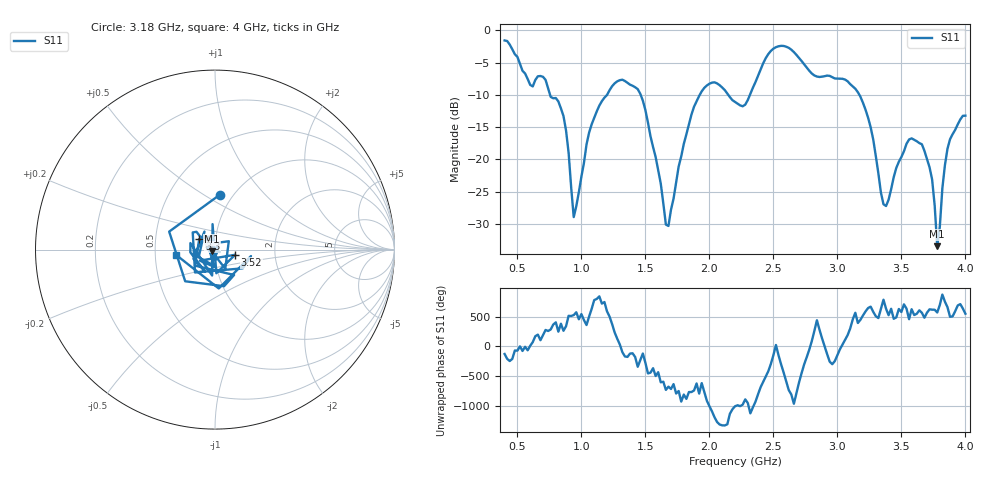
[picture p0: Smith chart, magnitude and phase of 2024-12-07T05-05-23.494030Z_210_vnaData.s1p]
!Created with skrf (http://scikit-rf.org).
# Hz S RI R 50.0
!freq ReS11 ImS11
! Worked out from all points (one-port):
!   181 points, 400 MHz to 4 GHz, reference 50 ohm
!   lowest |S11| = -33.5 dB at 3.78 GHz (marker M1), VSWR 1.04, Z = 48.2 - j0.956 ohm
!   |S11| at or under -10 dB: 755.3 MHz to 1.2 GHz (445.1 MHz wide, 45.5 % of centre); 1.463 GHz to 1.924 GHz (461.2 MHz wide, 27.2 % of centre); 3.172 GHz to end of sweep (the widest 3 of 4)
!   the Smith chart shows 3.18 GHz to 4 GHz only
!   S11 on the Smith chart (normalised r, x): 3.18 GHz: 0.87, +0.58; 3.3 GHz: 0.83, +0.10; 3.52 GHz: 1.25, -0.07; 4 GHz: 0.64, -0.04
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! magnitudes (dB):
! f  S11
! 400 MHz  -1.6
! 600 MHz  -8.4
! 720 MHz  -7.7
! 860 MHz  -13.3
! 900 MHz  -19.0
! 940 MHz  -29.0
! 1.08 GHz  -14.6
! 1.3 GHz  -7.7
! 1.48 GHz  -10.9
! 1.62 GHz  -23.8
! 1.66 GHz  -30.1
! 1.76 GHz  -21.1
! 1.96 GHz  -8.9
! 2.2 GHz  -11.1
! 2.28 GHz  -11.5
! 2.5 GHz  -2.8
! 2.66 GHz  -3.4
! 3.1 GHz  -8.3
! 3.18 GHz  -10.3
! 3.3 GHz  -19.5
! 3.38 GHz  -27.2
! 3.52 GHz  -18.7
! 3.56 GHz  -16.9
! 3.72 GHz  -21.2
! 3.76 GHz  -27.2
! 3.78 GHz  -33.5
! 3.86 GHz  -18.4
! 4 GHz  -13.2
